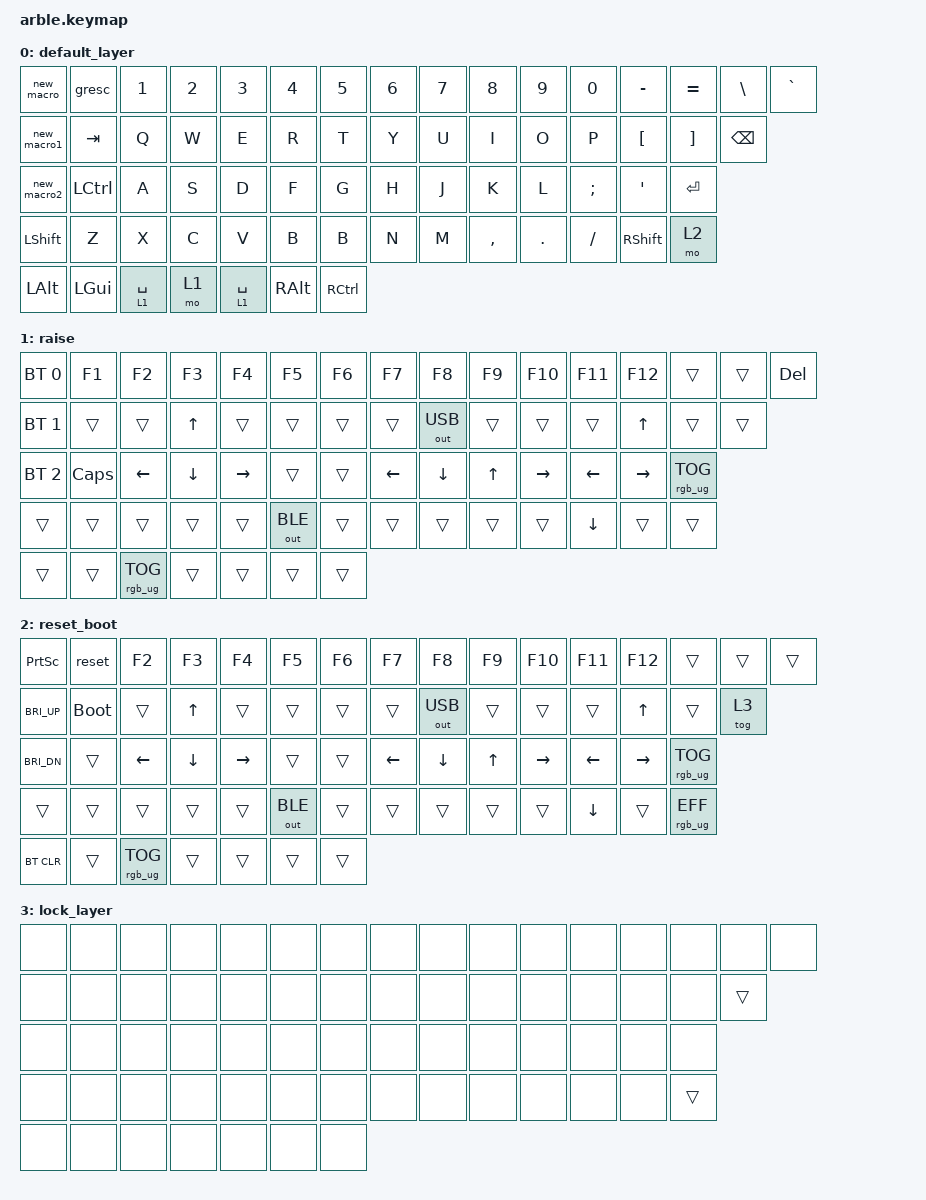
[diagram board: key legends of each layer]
/*
 * Copyright (c) 2021 Nick Winans
 *
 * SPDX-License-Identifier: MIT
 */

#include <behaviors.dtsi>
#include <dt-bindings/zmk/keys.h>
#include <dt-bindings/zmk/bt.h>
#include <dt-bindings/zmk/outputs.h>
#include <dt-bindings/zmk/rgb.h>

/ {
    macros {
        new_macro1: new_macro1 {
            compatible = "zmk,behavior-macro";
            label = "new_macro1";
            #binding-cells = <0>;
            bindings =
                <&macro_press>,
                <&kp LCTRL>,
                <&macro_tap>,
                <&kp C>,
                <&macro_release>,
                <&kp LCTRL>;
        };
        new_macro: new_macro {
            compatible = "zmk,behavior-macro";
            label = "new_macro2";
            #binding-cells = <0>;
            bindings =
                <&macro_press>,
                <&kp LEFT_GUI &kp LSHIFT>,
                <&macro_tap>,
                <&kp S>,
                <&macro_release>,
                <&kp LEFT_GUI &kp LSHIFT>;
        };
        new_macro2: new_macro2 {
            compatible = "zmk,behavior-macro";
            label = "new_macro";
            #binding-cells = <0>;
            bindings =
                <&macro_press>,
                <&kp LCTRL>,
                <&macro_tap>,
                <&kp V>,
                <&macro_release>,
                <&kp LCTRL>;
        };
    };

    keymap {
        compatible = "zmk,keymap";

        default_layer {
            bindings = <
  &new_macro     &gresc       &kp N1  &kp N2       &kp N3    &kp N4     &kp N5  &kp N6  &kp N7     &kp N8   &kp N9    &kp N0  &kp MINUS  &kp EQUAL  &kp BSLH  &kp GRAVE
 &new_macro1    &kp TAB        &kp Q   &kp W        &kp E     &kp R      &kp T   &kp Y   &kp U      &kp I    &kp O     &kp P   &kp LBKT   &kp RBKT  &kp BSPC
 &new_macro2  &kp LCTRL        &kp A   &kp S        &kp D     &kp F      &kp G   &kp H   &kp J      &kp K    &kp L  &kp SEMI    &kp SQT    &kp RET
   &kp LSHFT      &kp Z        &kp X   &kp C        &kp V     &kp B      &kp B   &kp N   &kp M  &kp COMMA  &kp DOT  &kp FSLH  &kp RSHFT      &mo 2
    &kp LALT   &kp LGUI  &lt 1 SPACE   &mo 1  &lt 1 SPACE  &kp RALT  &kp RCTRL
            >;
        };

        raise {
            bindings = <
 &bt BT_SEL 0    &kp F1           &kp F2    &kp F3     &kp F4        &kp F5  &kp F6    &kp F7        &kp F8  &kp F9    &kp F10   &kp F11    &kp F12           &trans  &trans  &kp DEL
 &bt BT_SEL 1    &trans           &trans    &kp UP     &trans        &trans  &trans    &trans  &out OUT_USB  &trans     &trans    &trans     &kp UP           &trans  &trans
 &bt BT_SEL 2  &kp CLCK         &kp LEFT  &kp DOWN  &kp RIGHT        &trans  &trans  &kp LEFT      &kp DOWN  &kp UP  &kp RIGHT  &kp LEFT  &kp RIGHT  &rgb_ug RGB_TOG
       &trans    &trans           &trans    &trans     &trans  &out OUT_BLE  &trans    &trans        &trans  &trans     &trans  &kp DOWN     &trans           &trans
       &trans    &trans  &rgb_ug RGB_TOG    &trans     &trans        &trans  &trans
            >;
        };

        reset_boot {
            bindings = <
    &kp PSCRN       &reset           &kp F2    &kp F3     &kp F4        &kp F5  &kp F6    &kp F7        &kp F8  &kp F9    &kp F10   &kp F11    &kp F12           &trans  &trans  &trans
 &kp C_BRI_UP  &bootloader           &trans    &kp UP     &trans        &trans  &trans    &trans  &out OUT_USB  &trans     &trans    &trans     &kp UP           &trans  &tog 3
 &kp C_BRI_DN       &trans         &kp LEFT  &kp DOWN  &kp RIGHT        &trans  &trans  &kp LEFT      &kp DOWN  &kp UP  &kp RIGHT  &kp LEFT  &kp RIGHT  &rgb_ug RGB_TOG
       &trans       &trans           &trans    &trans     &trans  &out OUT_BLE  &trans    &trans        &trans  &trans     &trans  &kp DOWN     &trans  &rgb_ug RGB_EFF
   &bt BT_CLR       &trans  &rgb_ug RGB_TOG    &trans     &trans        &trans  &trans
            >;
        };

        lock_layer {
            bindings = <
  &none   &none   &none   &none   &none   &none   &none   &none   &none   &none   &none   &none   &none   &none   &none   &none
  &none   &none   &none   &none   &none   &none   &none   &none   &none   &none   &none   &none   &none   &none  &trans
  &none   &none   &none   &none   &none   &none   &none   &none   &none   &none   &none   &none   &none   &none
  &none   &none   &none   &none   &none   &none   &none   &none   &none   &none   &none   &none   &none  &trans
  &none   &none   &none   &none   &none   &none   &none
            >;
        };
    };
};
